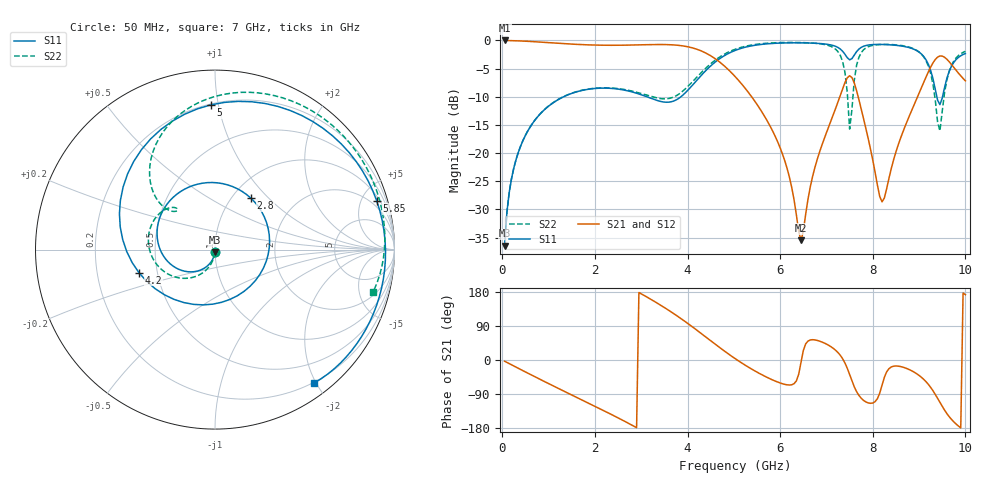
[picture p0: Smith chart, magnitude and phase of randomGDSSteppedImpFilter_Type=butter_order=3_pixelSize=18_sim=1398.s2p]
! freq	dB(S11)	phase(S11)	dB(S12)	phase(S12)
!  dB(S21)	phase(S21)	dB(S22)	phase(S22)
!S-par simulation data
#  GHz  S  DB  R 50
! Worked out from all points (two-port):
!   200 points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, 50 MHz to 10 GHz, reference 50 ohm
!   highest |S21| = -0.01 dB at 50 MHz (marker M1); lowest = -35.5 dB at 6.45 GHz (marker M2)
!   |S21| within 3 dB of the highest: start of sweep to 4.555 GHz; 9.394 GHz to 9.553 GHz (158.6 MHz wide, 1.67 % of centre)
!   lowest |S11| = -36.4 dB at 50 MHz (marker M3), VSWR 1.03, Z = 49.9 - j1.5 ohm
!   |S11| at or under -10 dB: start of sweep to 1.322 GHz; 3.122 GHz to 3.856 GHz (734.2 MHz wide, 21 % of centre); 9.384 GHz to 9.506 GHz (121.9 MHz wide, 1.29 % of centre)
!   |S22| runs from -36.5 to -0.4 dB; largest |S21 - S12| = 0
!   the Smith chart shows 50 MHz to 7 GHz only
!   S11 on the Smith chart (normalised r, x): 50 MHz: 1.00, -0.03; 2.8 GHz: 1.21, +0.79; 4.2 GHz: 0.39, -0.13; 5 GHz: 0.21, +0.95; 5.85 GHz: 1.36, +6.48; 7 GHz: 0.19, -1.98
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0.05  -36.43 -93.3  -0.01 -3.2  -0.01 -3.2  -36.51 -92.3
0.2  -24.50 -104.5  -0.04 -12.7  -0.04 -12.7  -24.47 -101.2
0.5  -16.84 -126.4  -0.14 -31.5  -0.14 -31.5  -16.82 -117.5
1.75  -8.82 143.7  -0.75 -107.2  -0.75 -107.2  -8.79 -179.2
2.8  -9.13 55.1  -0.82 -171.9  -0.82 -171.9  -8.99 140.8
3.4  -10.79 -20.6  -0.73 146.1  -0.73 146.1  -10.30 133.1
4.2  -7.07 -163.2  -1.56 78.8  -1.56 78.8  -6.52 137.0
5  -1.86 91.6  -6.17 5.9  -6.17 5.9  -1.65 95.8
5.05  -1.70 86.2  -6.61 1.8  -6.61 1.8  -1.50 92.8
5.85  -0.53 16.8  -16.28 -53.4  -16.28 -53.4  -0.43 47.0
6.45  -0.43 -22.0  -35.50 -6.7  -35.50 -6.7  -0.38 16.1
6.7  -0.48 -36.4  -24.16 53.6  -24.16 53.6  -0.47 3.0
7  -0.67 -53.4  -16.37 42.0  -16.37 42.0  -0.80 -15.0
7.35  -1.93 -73.6  -8.54 3.2  -8.54 3.2  -3.77 -50.2
7.5  -3.44 -71.4  -6.27 -38.2  -6.27 -38.2  -15.74 -37.3
7.8  -1.04 -76.1  -13.85 -106.5  -13.85 -106.5  -1.66 -2.6
8.15  -0.71 -96.0  -27.69 -87.5  -27.69 -87.5  -0.73 -29.9
8.35  -0.76 -106.4  -24.46 -22.8  -24.46 -22.8  -0.71 -41.2
9  -2.07 -146.0  -9.35 -40.7  -9.35 -40.7  -2.05 -80.7
9.45  -11.39 -139.5  -2.76 -112.0  -2.76 -112.0  -16.06 -54.9
9.65  -5.48 -118.5  -3.78 -149.5  -3.78 -149.5  -5.49 -29.2
10  -2.33 -146.7  -7.17 172.5  -7.17 172.5  -1.93 -56.6
